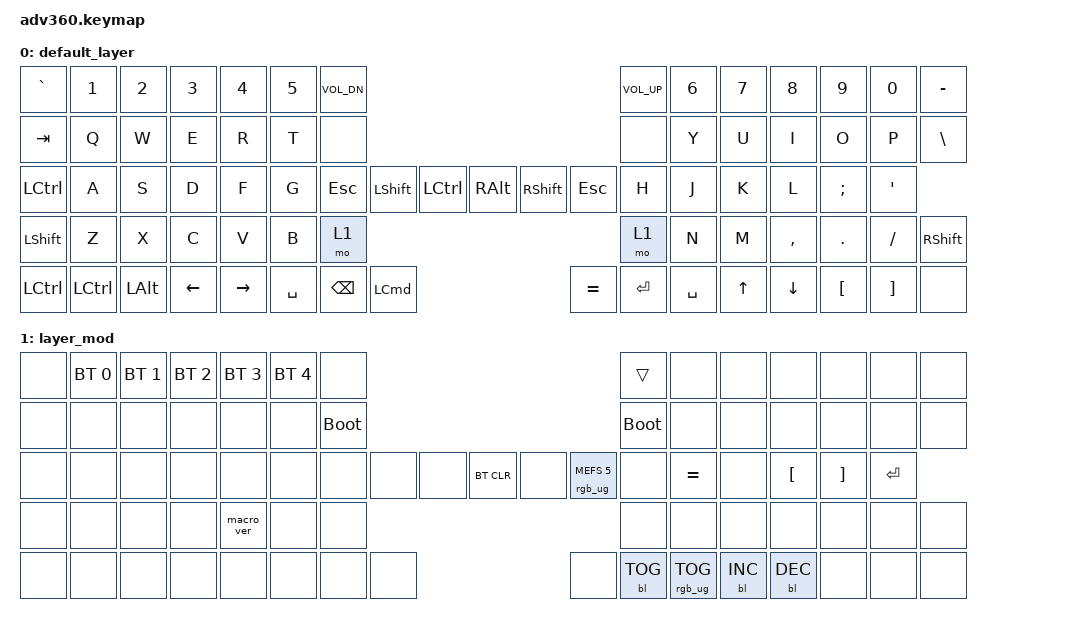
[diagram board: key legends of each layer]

/*
 * Copyright (c) 2020 The ZMK Contributors
 *
 * SPDX-License-Identifier: MIT
 */


/* THIS FILE WAS GENERATED!
 *
 * This file was generated automatically. You may or may not want to
 * edit it directly.
 */

#include <behaviors.dtsi>
#include <dt-bindings/zmk/keys.h>
#include <dt-bindings/zmk/bt.h>
#include <dt-bindings/zmk/rgb.h>
#include <dt-bindings/zmk/backlight.h>

/ {
  behaviors {
    #include "macros.dtsi"
    #include "version.dtsi"

    hm: homerow_mods {
        compatible = "zmk,behavior-hold-tap";
        label = "HOMEROW_MODS";
        #binding-cells = <2>;
        tapping-term-ms = <200>;
        quick_tap_ms = <175>;
        flavor = "tap-preferred";
        bindings = <&kp>, <&kp>;
    };
  };

    keymap {
        compatible = "zmk,keymap";


        default_layer {
            bindings = <
        &kp GRAVE            &kp N1        &kp N2    &kp N3     &kp N4  &kp N5            &kp C_VOL_DN                                                                                    &kp C_VOL_UP  &kp N6  &kp N7     &kp N8    &kp N9    &kp N0  &kp MINUS
          &kp TAB             &kp Q         &kp W     &kp E      &kp R   &kp T                   &none                                                                                           &none   &kp Y   &kp U      &kp I     &kp O     &kp P   &kp BSLH
 &kp LEFT_CONTROL             &kp A         &kp S     &kp D      &kp F   &kp G                 &kp ESC  &kp LEFT_SHIFT  &kp LEFT_CONTROL                  &kp RIGHT_ALT  &kp RIGHT_SHIFT       &kp ESC   &kp H   &kp J      &kp K     &kp L  &kp SEMI    &kp SQT
        &kp LSHFT             &kp Z         &kp X     &kp C      &kp V   &kp B                                                     &mo 1                          &mo 1                                  &kp N   &kp M  &kp COMMA   &kp DOT  &kp FSLH  &kp RSHFT
 &kp LEFT_CONTROL  &kp LEFT_CONTROL  &kp LEFT_ALT  &kp LEFT  &kp RIGHT                       &kp SPACE   &kp BACKSPACE  &kp LEFT_COMMAND                      &kp EQUAL        &kp ENTER     &kp SPACE          &kp UP   &kp DOWN  &kp LBKT  &kp RBKT      &none
            >;
        };

        layer_mod {
            bindings = <
  &none  &bt BT_SEL 0  &bt BT_SEL 1  &bt BT_SEL 2  &bt BT_SEL 3  &bt BT_SEL 4                  &none                                                                          &trans   &none       &none       &none             &none              &none      &none
  &none         &none         &none         &none         &none         &none            &bootloader                                                                     &bootloader   &none       &none       &none             &none              &none      &none
  &none         &none         &none         &none         &none         &none                  &none   &none   &none                  &bt BT_CLR       &none  &rgb_ug RGB_MEFS_CMD 5   &none   &kp EQUAL       &none  &kp LEFT_BRACKET  &kp RIGHT_BRACKET  &kp ENTER
  &none         &none         &none         &none    &macro_ver         &none                                  &none                       &none                                       &none       &none       &none             &none              &none      &none
  &none         &none         &none         &none         &none                                &none   &none   &none                       &none  &bl BL_TOG         &rgb_ug RGB_TOG          &bl BL_INC  &bl BL_DEC             &none              &none      &none
            >;
        };

    };
};
